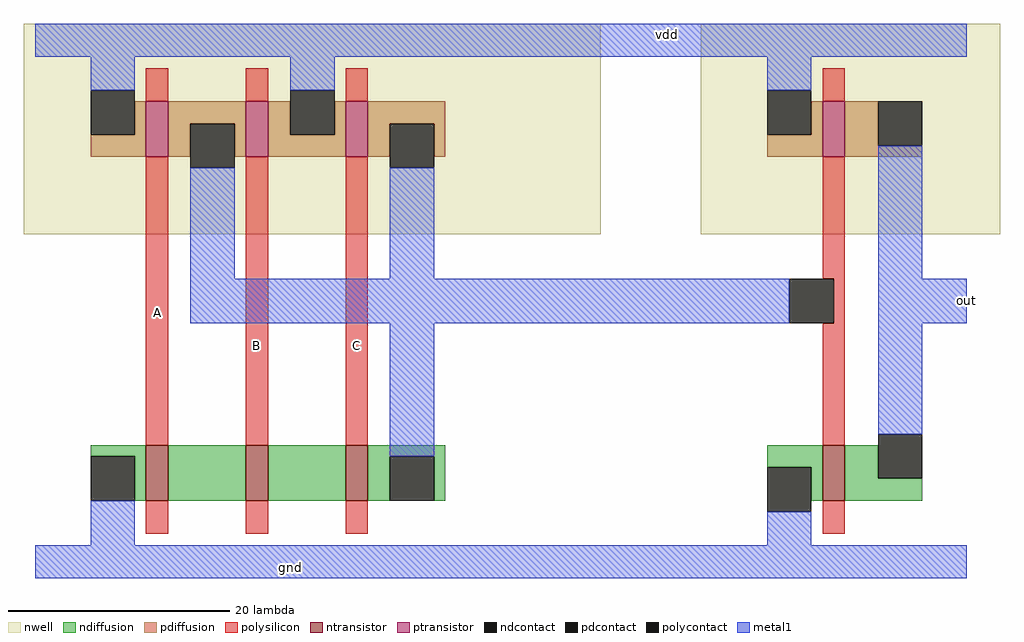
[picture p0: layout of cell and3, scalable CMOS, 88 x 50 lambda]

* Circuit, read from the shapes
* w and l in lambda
.subckt and3 A B C gnd out vdd
M1 n1 A gnd VSUBS nfet w=5 l=2
M2 n2 B n1 VSUBS nfet w=5 l=2
M3 n3 C n2 VSUBS nfet w=5 l=2
M4 out n3 gnd VSUBS nfet w=5 l=2
M5 n3 A vdd n4 pfet w=5 l=2
M6 vdd B n3 n4 pfet w=5 l=2
M7 n3 C vdd n4 pfet w=5 l=2
M8 out n3 vdd n5 pfet w=5 l=2
.ends

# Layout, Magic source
magic
tech scmos
<< nwell >>
rect 0 99 52 118
rect 61 99 88 118
<< ntransistor >>
rect 11 75 13 80
rect 20 75 22 80
rect 29 75 31 80
rect 72 75 74 80
<< ptransistor >>
rect 11 106 13 111
rect 20 106 22 111
rect 29 106 31 111
rect 72 106 74 111
<< ndiffusion >>
rect 6 79 11 80
rect 10 75 11 79
rect 13 75 20 80
rect 22 75 29 80
rect 31 79 38 80
rect 31 75 33 79
rect 37 75 38 79
rect 67 78 72 80
rect 71 75 72 78
rect 74 77 77 80
rect 74 75 81 77
<< pdiffusion >>
rect 10 108 11 111
rect 6 106 11 108
rect 13 109 20 111
rect 13 106 15 109
rect 19 106 20 109
rect 22 108 24 111
rect 28 108 29 111
rect 22 106 29 108
rect 31 109 38 111
rect 31 106 33 109
rect 37 106 38 109
rect 71 108 72 111
rect 67 106 72 108
rect 74 107 77 111
rect 74 106 81 107
<< ndcontact >>
rect 6 75 10 79
rect 33 75 37 79
rect 67 74 71 78
rect 77 77 81 81
<< pdcontact >>
rect 6 108 10 112
rect 15 105 19 109
rect 24 108 28 112
rect 33 105 37 109
rect 67 108 71 112
rect 77 107 81 111
<< polysilicon >>
rect 11 111 13 114
rect 20 111 22 114
rect 11 80 13 106
rect 29 111 31 114
rect 20 80 22 106
rect 29 80 31 106
rect 72 111 74 114
rect 72 95 74 106
rect 73 91 74 95
rect 72 80 74 91
rect 11 72 13 75
rect 20 72 22 75
rect 29 72 31 75
rect 72 72 74 75
<< polycontact >>
rect 69 91 73 95
<< metal1 >>
rect 1 115 85 118
rect 6 112 10 115
rect 24 112 28 115
rect 67 112 71 115
rect 15 95 19 105
rect 33 95 37 105
rect 77 95 81 107
rect 15 91 69 95
rect 77 91 85 95
rect 33 79 37 91
rect 77 81 81 91
rect 6 71 10 75
rect 67 71 71 74
rect 1 68 85 71
<< labels >>
rlabel metal1 24 69 24 69 1 gnd
rlabel polysilicon 12 92 12 92 1 A
rlabel polysilicon 21 89 21 89 1 B
rlabel polysilicon 30 89 30 89 1 C
rlabel metal1 85 91 85 95 7 out
rlabel metal1 58 117 58 117 5 vdd
<< end >>
